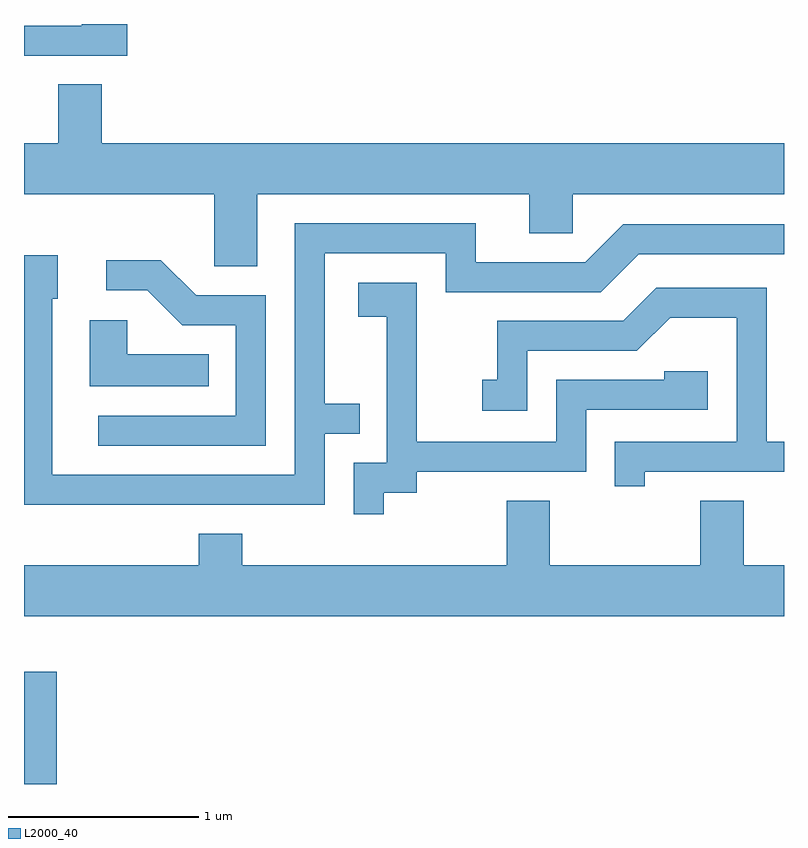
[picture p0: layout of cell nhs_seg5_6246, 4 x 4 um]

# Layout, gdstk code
import gdstk
lib = gdstk.Library(unit=1e-6, precision=1e-09)
def R(c, l, rs):  # rectangles x0, y0, x1, y1
    for r in rs: c.add(gdstk.rectangle(r[:2], r[2:], *l))
def P(c, l, *ps):  # polygons
    for p in ps: c.add(gdstk.Polygon(p, *l))
L2000_40 = (2000, 40)

nhs_seg5_6246 = lib.new_cell('nhs_seg5_6246')
R(nhs_seg5_6246, L2000_40, [(369.611,1518.072,369.784,1518.664)])
P(nhs_seg5_6246, L2000_40, [(370.154,1522.072),(369.916,1522.072),(369.916,1522.064),(369.611,1522.064),(369.611,1521.906),(370.154,1521.906)],
  [(370.839,1521.176),(372.271,1521.176),(372.271,1520.971),(372.499,1520.971),(372.499,1521.176),(373.611,1521.176),(373.611,1521.444),(370.019,1521.444),(370.019,1521.754),(369.791,1521.754),(369.791,1521.444),(369.611,1521.444),(369.611,1521.176),(370.611,1521.176),(370.611,1520.796),(370.839,1520.796)],
  [(371.194,1519.916),(371.378,1519.916),(371.378,1520.074),(371.194,1520.074),(371.194,1520.866),(371.831,1520.866),(371.831,1520.661),(372.647,1520.661),(372.847,1520.861),(373.611,1520.861),(373.611,1521.019),(372.764,1521.019),(372.564,1520.819),(371.989,1520.819),(371.989,1521.024),(371.036,1521.024),(371.036,1519.699),(369.759,1519.699),(369.759,1520.626),(369.789,1520.626),(369.789,1520.854),(369.611,1520.854),(369.611,1519.541),(371.194,1519.541)],
  [(370.884,1520.644),(370.517,1520.644),(370.332,1520.829),(370.043,1520.829),(370.043,1520.671),(370.259,1520.671),(370.444,1520.486),(370.726,1520.486),(370.726,1520.009),(370.003,1520.009),(370.003,1519.851),(370.884,1519.851)],
  [(371.504,1519.606),(371.679,1519.606),(371.679,1519.716),(372.569,1519.716),(372.569,1520.041),(373.209,1520.041),(373.209,1520.244),(372.981,1520.244),(372.981,1520.199),(372.411,1520.199),(372.411,1519.874),(371.679,1519.874),(371.679,1520.709),(371.371,1520.709),(371.371,1520.531),(371.521,1520.531),(371.521,1519.764),(371.346,1519.764),(371.346,1519.493),(371.504,1519.493)],
  [(372.879,1519.716),(373.611,1519.716),(373.611,1519.874),(373.519,1519.874),(373.519,1520.684),(372.939,1520.684),(372.764,1520.509),(372.101,1520.509),(372.101,1520.199),(372.023,1520.199),(372.023,1520.036),(372.259,1520.036),(372.259,1520.351),(372.837,1520.351),(373.012,1520.526),(373.361,1520.526),(373.361,1519.874),(372.721,1519.874),(372.721,1519.638),(372.879,1519.638)],
  [(370.583,1520.334),(370.154,1520.334),(370.154,1520.514),(369.956,1520.514),(369.956,1520.166),(370.583,1520.166)],
  [(373.611,1519.224),(373.399,1519.224),(373.399,1519.564),(373.171,1519.564),(373.171,1519.224),(372.379,1519.224),(372.379,1519.564),(372.151,1519.564),(372.151,1519.224),(370.759,1519.224),(370.759,1519.389),(370.531,1519.389),(370.531,1519.224),(369.611,1519.224),(369.611,1518.956),(373.611,1518.956)])

lib.write_gds('nhs_seg5_6246.gds')
